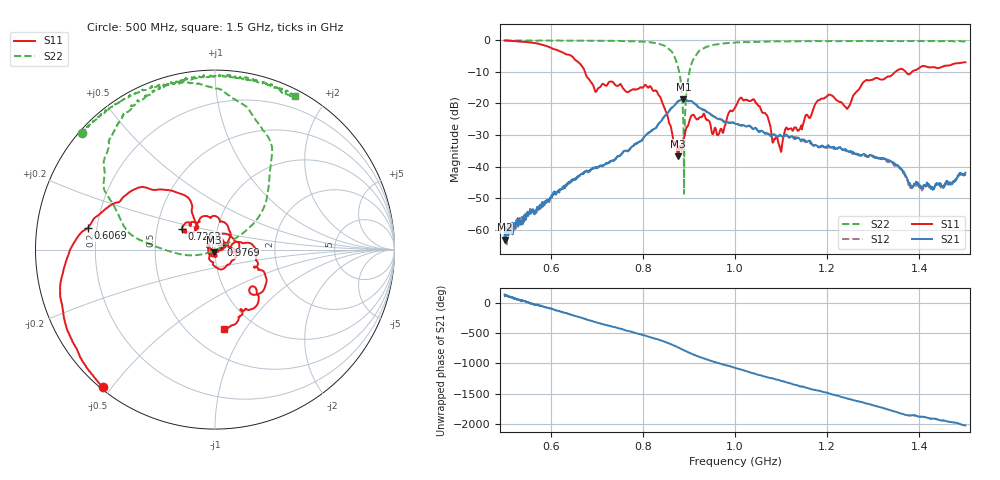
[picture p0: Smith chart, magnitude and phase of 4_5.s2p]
!Agilent Technologies,E8364B,US42250235,A.06.04.32
!Agilent E8364B: A.06.04.32
!Date: Friday, January 15, 2021 12:15:55
!Correction: S11(Full 2 Port(1,2)) S21(Full 2 Port(1,2)) S12(Full 2 Port(1,2)) S22(Full 2 Port(1,2))
!S2P File: Measurements: S11, S21, S12, S22:
# Hz S  dB  R 50
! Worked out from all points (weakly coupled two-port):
!   1601 points, 500 MHz to 1.5 GHz, reference 50 ohm
!   highest |S21| = -18.70 dB at 888.1 MHz (marker M1); lowest = -63.0 dB at 500.6 MHz (marker M2)
!   lowest |S11| = -36.7 dB at 876.9 MHz (marker M3), VSWR 1.03, Z = 49.6 - j1.4 ohm
!   |S11| at or under -10 dB: 674.3 MHz to 1.349 GHz (674.5 MHz wide, 66.7 % of centre); 1.37 GHz to 1.384 GHz (13.75 MHz wide, 0.998 % of centre)
!   |S22| runs from -48.6 to -0.1 dB; largest |S21 - S12| = 0.0066
!   S11 on the Smith chart (normalised r, x): 500 MHz: 0.01, -0.48; 606.9 MHz: 0.16, +0.08; 726.2 MHz: 0.67, +0.16; 976.9 MHz: 1.07, +0.05; 1.5 GHz: 0.73, -0.81
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5e8  -0.10 -129.1  -60.81 131.0  -61.57 105.7  -0.12 138.9
5.00625e8  -0.10 -129.4  -63.04 101.4  -63.71 109.0  -0.12 138.8
5.66875e8  -0.93 -163.7  -53.87 -33.7  -53.76 -28.8  -0.15 132.8
6.06875e8  -2.85 170.5  -47.87 -115.4  -48.28 -112.6  -0.17 128.2
6.66875e8  -8.03 125.3  -42.39 110.1  -42.34 109.4  -0.14 122.6
6.975e8  -16.34 135.8  -40.52 36.6  -40.28 39.5  -0.16 119.1
7.2625e8  -13.27 148.1  -38.81 -20.9  -38.65 -19.2  -0.21 114.5
8.3375e8  -17.24 56.3  -26.54 111.7  -26.53 113.9  -1.06 86.8
8.76875e8  -36.65 -106.7  -19.27 -17.0  -19.36 -14.2  -8.81 41.0
8.88125e8  -31.22 167.0  -18.70 -59.7  -18.80 -57.1  -27.99 20.8
9.1125e8  -23.81 94.4  -19.97 -139.3  -19.94 -136.2  -5.71 166.2
9.76875e8  -27.63 37.3  -25.90 58.0  -25.73 60.6  -1.02 127.1
1e9  -21.29 6.3  -26.36 7.5  -26.34 10.9  -0.80 120.7
1.043125e9  -19.19 -79.2  -27.74 -87.9  -27.94 -85.6  -0.51 114.8
1.098125e9  -34.19 -107.5  -29.89 159.8  -30.17 163.0  -0.41 107.0
1.166875e9  -23.02 81.3  -32.85 14.1  -32.91 13.4  -0.36 98.3
1.205e9  -17.21 10.3  -33.57 -55.8  -33.72 -57.9  -0.30 93.7
1.244375e9  -21.58 5.0  -35.09 -138.2  -35.16 -138.6  -0.31 90.2
1.28125e9  -12.98 1.6  -36.19 151.1  -36.54 148.1  -0.30 86.2
1.33375e9  -11.44 -25.0  -38.05 40.2  -38.39 38.4  -0.26 81.7
1.383125e9  -10.13 -43.3  -46.15 -52.5  -46.72 -54.0  -0.27 76.2
1.5e9  -6.98 -83.6  -41.86 142.4  -42.30 135.7  -0.32 62.6
